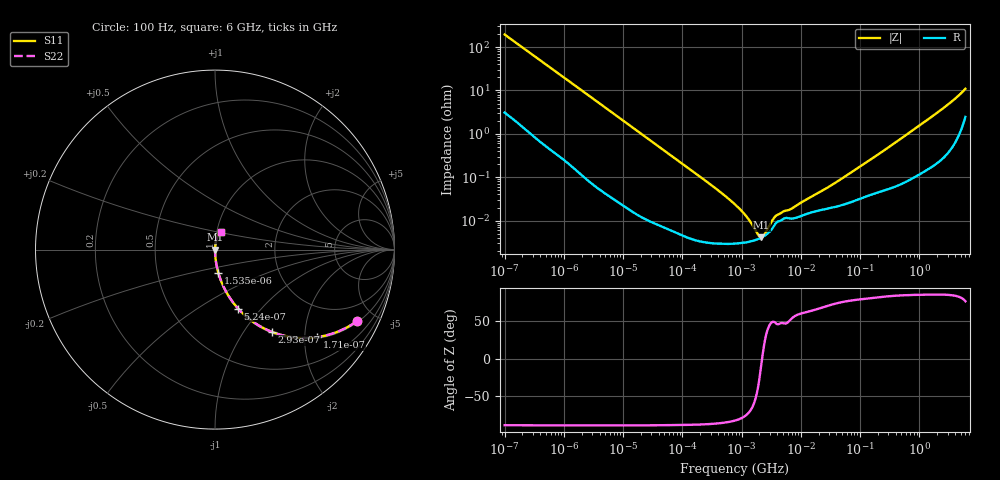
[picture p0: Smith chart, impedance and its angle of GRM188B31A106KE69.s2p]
!Murata Part Number: GRM188B31A106KE69
!These Parameters are Measured in Series Mode Connection
!Data Generated on Mar 30, 2021
!  o--ll--o
!Port1  Port2
!  o------o
!Operation Temp=25[degC], DC Bias Voltage=0[V]
!Freq. Start=100[Hz] Stop=6[GHz] 401[Steps]
# Hz S RI R 50
!Freq.(Hz) S11(Real) S11(Imag) S21(Real) S21(Imag) S12(Real) S12(Imag) S22(Real) S22(Imag)
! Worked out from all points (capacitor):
!   401 points, 100 Hz to 6 GHz, reference 50 ohm
!   read as one part in series: C = 8.1 uF near 109 Hz
!   lowest |Z| = 4.09 mohm at 2.169 MHz (marker M1)
!   series resonance near 2.22 MHz, so ESL is about 630 pH
!   S11 on the Smith chart (normalised r, x): 100 Hz: 1.06, -3.91; 171 Hz: 1.03, -2.30; 293 Hz: 1.02, -1.35; 524 Hz: 1.01, -0.76; 1.535 kHz: 1.00, -0.26; 6 GHz: 1.05, +0.21
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100  0.7892 -0.4  0.2108 0.4  0.2108 0.4  0.7892 -0.4
120  0.7257 -0.4384  0.2743 0.4384  0.2743 0.4384  0.7257 -0.4384
171  0.5685 -0.4878  0.4315 0.4878  0.4315 0.4878  0.5685 -0.4878
293  0.3156 -0.458  0.6844 0.458  0.6844 0.458  0.3156 -0.458
524  0.1288 -0.3286  0.8712 0.3286  0.8712 0.3286  0.1288 -0.3286
820  0.0584 -0.2282  0.9416 0.2282  0.9416 0.2282  0.0584 -0.2282
1535  0.0182 -0.128  0.9818 0.128  0.9818 0.128  0.0182 -0.128
2008  0.011 -0.0988  0.989 0.0988  0.989 0.0988  0.011 -0.0988
6433  0.00132 -0.0314  0.9987 0.0314  0.9987 0.0314  0.00132 -0.0314
40335  0.000103 -0.00506  0.9999 0.00506  0.9999 0.00506  0.000103 -0.00506
316350  3.04e-05 -0.00064  1 0.00064  1 0.00064  3.04e-05 -0.00064
774597  2.95e-05 -0.000235  1 0.000235  1 0.000235  2.95e-05 -0.000235
1386327  3.28e-05 -9.1e-05  1 9.1e-05  1 9.1e-05  3.28e-05 -9.1e-05
2169299  4.07e-05 -4.3e-06  1 4.3e-06  1 4.3e-06  4.07e-05 -4.3e-06
3103719  5.89e-05 6.44e-05  0.9999 -6.44e-05  0.9999 -6.44e-05  5.89e-05 6.44e-05
4856642  0.000105 0.000117  0.9999 -0.000117  0.9999 -0.000117  0.000105 0.000117
6948629  0.000111 0.000151  0.9999 -0.000151  0.9999 -0.000151  0.000111 0.000151
1.555665e7  0.000156 0.000328  0.9998 -0.000328  0.9998 -0.000328  0.000156 0.000328
4.165952e7  0.000214 0.000774  0.9998 -0.000774  0.9998 -0.000774  0.000214 0.000774
3.124326e8  0.000566 0.00501  0.9994 -0.00501  0.9994 -0.00501  0.000566 0.00501
2.240541e9  0.00354 0.0341  0.9965 -0.0341  0.9965 -0.0341  0.00354 0.0341
6e9  0.0345 0.1007  0.9655 -0.1007  0.9655 -0.1007  0.0345 0.1007
